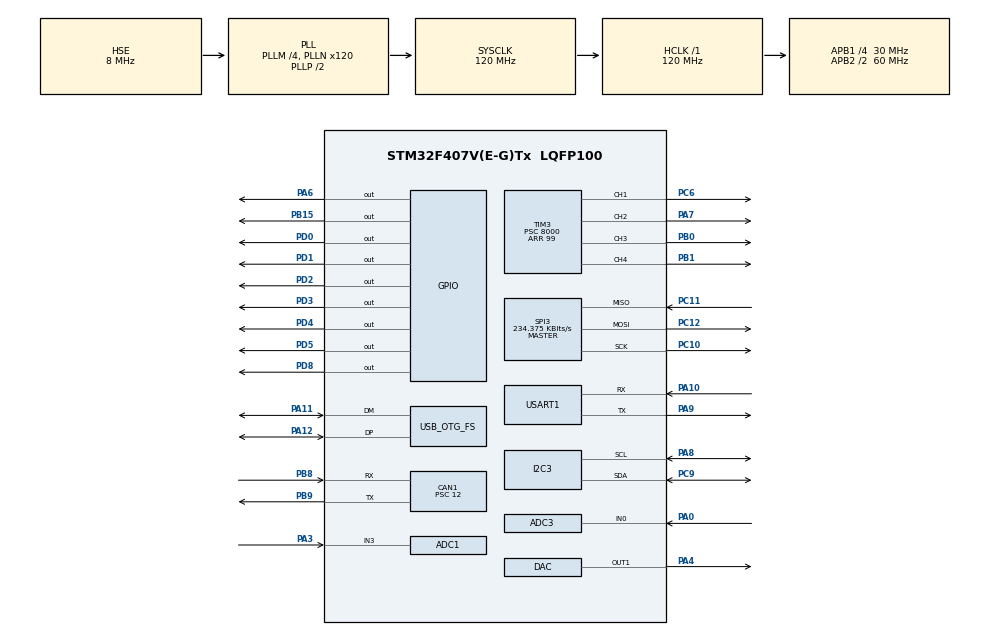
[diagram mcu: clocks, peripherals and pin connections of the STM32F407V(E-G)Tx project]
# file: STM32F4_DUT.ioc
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ADC1.Channel-2\#ChannelRegularConversion=ADC_CHANNEL_3
ADC1.NbrOfConversionFlag=1
ADC1.Rank-2\#ChannelRegularConversion=1
ADC1.SamplingTime-2\#ChannelRegularConversion=ADC_SAMPLETIME_480CYCLES
ADC1.master=1
ADC3.Channel-0\#ChannelRegularConversion=ADC_CHANNEL_0
ADC3.DMAContinuousRequests=ENABLE
ADC3.ExternalTrigConv=ADC_EXTERNALTRIGCONV_T8_TRGO
ADC3.NbrOfConversionFlag=1
ADC3.Rank-0\#ChannelRegularConversion=1
ADC3.SamplingTime-0\#ChannelRegularConversion=ADC_SAMPLETIME_480CYCLES
CAN1.BS1=CAN_BS1_2TQ
CAN1.BS2=CAN_BS2_2TQ
CAN1.CalculateBaudRate=500000
CAN1.CalculateTimeBit=2000
CAN1.CalculateTimeQuantum=400.0
CAN1.Prescaler=12
DAC.DAC_Trigger=DAC_TRIGGER_T2_TRGO
Dma.ADC3.1.Direction=DMA_PERIPH_TO_MEMORY
Dma.ADC3.1.FIFOMode=DMA_FIFOMODE_DISABLE
Dma.ADC3.1.Instance=DMA2_Stream0
Dma.ADC3.1.MemDataAlignment=DMA_MDATAALIGN_HALFWORD
Dma.ADC3.1.MemInc=DMA_MINC_ENABLE
Dma.ADC3.1.Mode=DMA_NORMAL
Dma.ADC3.1.PeriphDataAlignment=DMA_PDATAALIGN_HALFWORD
Dma.ADC3.1.PeriphInc=DMA_PINC_DISABLE
Dma.ADC3.1.Priority=DMA_PRIORITY_LOW
Dma.DAC1.0.Direction=DMA_MEMORY_TO_PERIPH
Dma.DAC1.0.FIFOMode=DMA_FIFOMODE_DISABLE
Dma.DAC1.0.Instance=DMA1_Stream5
Dma.DAC1.0.MemDataAlignment=DMA_MDATAALIGN_WORD
Dma.DAC1.0.MemInc=DMA_MINC_ENABLE
Dma.DAC1.0.Mode=DMA_CIRCULAR
Dma.DAC1.0.PeriphDataAlignment=DMA_PDATAALIGN_WORD
Dma.DAC1.0.PeriphInc=DMA_PINC_DISABLE
Dma.DAC1.0.Priority=DMA_PRIORITY_LOW
Dma.Request0=DAC1
Dma.Request1=ADC3
Mcu.Family=STM32F4
Mcu.Name=STM32F407V(E-G)Tx
Mcu.Package=LQFP100
NVIC.CAN1_RX0_IRQn=true\:6\:0\:true\:false\:true\:true\:true\:true
NVIC.DMA1_Stream5_IRQn=true\:0\:0\:false\:false\:true\:false\:true\:true
NVIC.DMA2_Stream0_IRQn=true\:6\:0\:true\:false\:true\:false\:true\:true
NVIC.OTG_FS_IRQn=true\:0\:0\:true\:false\:true\:false\:true\:true
NVIC.PriorityGroup=NVIC_PRIORITYGROUP_4
NVIC.TIM1_UP_TIM10_IRQn=true\:15\:0\:false\:false\:true\:false\:true\:true
NVIC.TimeBase=TIM1_UP_TIM10_IRQn
NVIC.TimeBaseIP=TIM1
NVIC.USART1_IRQn=true\:0\:0\:false\:false\:true\:true\:true\:true
PA0-WKUP.Signal=ADCx_IN0
PA10.Mode=Asynchronous
PA10.Signal=USART1_RX
PA11.Mode=Device_Only
PA11.Signal=USB_OTG_FS_DM
PA12.Mode=Device_Only
PA12.Signal=USB_OTG_FS_DP
PA13.Mode=Serial_Wire
PA13.Signal=SYS_JTMS-SWDIO
PA14.Mode=Serial_Wire
PA14.Signal=SYS_JTCK-SWCLK
PA3.Signal=ADCx_IN3
PA4.Signal=COMP_DAC1_group
PA6.Signal=GPIO_Output
PA7.Signal=S_TIM3_CH2
PA8.Mode=I2C
PA8.Signal=I2C3_SCL
PA9.Mode=Asynchronous
PA9.Signal=USART1_TX
PB0.Signal=S_TIM3_CH3
PB1.Signal=S_TIM3_CH4
PB15.Signal=GPIO_Output
PB8.Mode=CAN_Activate
PB8.Signal=CAN1_RX
PB9.Mode=CAN_Activate
PB9.Signal=CAN1_TX
PC10.Mode=Full_Duplex_Master
PC10.Signal=SPI3_SCK
PC11.Mode=Full_Duplex_Master
PC11.Signal=SPI3_MISO
PC12.Mode=Full_Duplex_Master
PC12.Signal=SPI3_MOSI
PC6.Signal=S_TIM3_CH1
PC9.Mode=I2C
PC9.Signal=I2C3_SDA
PD0.Signal=GPIO_Output
PD1.Signal=GPIO_Output
PD2.Signal=GPIO_Output
PD3.Signal=GPIO_Output
PD4.Signal=GPIO_Output
PD5.Signal=GPIO_Output
PD8.Signal=GPIO_Output
PH0-OSC_IN.Mode=HSE-External-Oscillator
PH0-OSC_IN.Signal=RCC_OSC_IN
PH1-OSC_OUT.Mode=HSE-External-Oscillator
PH1-OSC_OUT.Signal=RCC_OSC_OUT
ProjectManager.HeapSize=0x200
ProjectManager.StackSize=0x400
ProjectManager.TargetToolchain=STM32CubeIDE
RCC.48MHZClocksFreq_Value=48000000
RCC.AHBFreq_Value=120000000
RCC.APB1CLKDivider=RCC_HCLK_DIV4
RCC.APB1Freq_Value=30000000
RCC.APB1TimFreq_Value=60000000
RCC.APB2CLKDivider=RCC_HCLK_DIV2
RCC.APB2Freq_Value=60000000
RCC.APB2TimFreq_Value=120000000
RCC.CortexFreq_Value=120000000
RCC.HCLKFreq_Value=120000000
RCC.HSE_VALUE=8000000
RCC.HSI_VALUE=16000000
RCC.LSE_VALUE=32768
RCC.PLLM=4
RCC.PLLN=120
RCC.PLLQ=5
RCC.SYSCLKFreq_VALUE=120000000
RCC.SYSCLKSource=RCC_SYSCLKSOURCE_PLLCLK
RCC.VCOOutputFreq_Value=240000000
SH.ADCx_IN0.0=ADC3_IN0,IN0
SH.ADCx_IN3.0=ADC1_IN3,IN3
SH.COMP_DAC1_group.0=DAC_OUT1,DAC_OUT1
SH.S_TIM3_CH1.0=TIM3_CH1,PWM Generation1 CH1
SH.S_TIM3_CH2.0=TIM3_CH2,PWM Generation2 CH2
SH.S_TIM3_CH3.0=TIM3_CH3,PWM Generation3 CH3
SH.S_TIM3_CH4.0=TIM3_CH4,PWM Generation4 CH4
SPI3.BaudRatePrescaler=SPI_BAUDRATEPRESCALER_128
SPI3.CLKPhase=SPI_PHASE_2EDGE
SPI3.CalculateBaudRate=234.375 KBits/s
SPI3.Direction=SPI_DIRECTION_2LINES
SPI3.Mode=SPI_MODE_MASTER
SPI3.VirtualType=VM_MASTER
STMicroelectronics.X-CUBE-ALGOBUILD.1.4.0.LibraryCcDSPOoLibraryJjDSPOoLibrary=true
TIM2.Period=10-1
TIM2.Prescaler=6-1
TIM2.TIM_MasterOutputTrigger=TIM_TRGO_UPDATE
TIM3.AutoReloadPreload=TIM_AUTORELOAD_PRELOAD_ENABLE
TIM3.Channel-PWM\ Generation1\ CH1=TIM_CHANNEL_1
TIM3.Channel-PWM\ Generation2\ CH2=TIM_CHANNEL_2
TIM3.Channel-PWM\ Generation3\ CH3=TIM_CHANNEL_3
TIM3.Channel-PWM\ Generation4\ CH4=TIM_CHANNEL_4
TIM3.OCMode_PWM-PWM\ Generation3\ CH3=TIM_OCMODE_PWM1
TIM3.Period=99
TIM3.Prescaler=8000
TIM3.Pulse-PWM\ Generation1\ CH1=25
TIM3.Pulse-PWM\ Generation2\ CH2=50
TIM3.Pulse-PWM\ Generation3\ CH3=75
TIM8.Period=100-1
TIM8.Prescaler=40-1
TIM8.TIM_MasterOutputTrigger=TIM_TRGO_UPDATE
USART1.VirtualMode=VM_ASYNC
USB_DEVICE.CLASS_NAME_FS=CDC
USB_DEVICE.VirtualMode-CDC_FS=Cdc
USB_DEVICE.VirtualModeFS=Cdc_FS
USB_OTG_FS.VirtualMode=Device_Only
VP_STMicroelectronics.X-CUBE-ALGOBUILD_VS_DSPOoLibraryJjLibrary_1.4.0_1.4.0.Mode=DSPOoLibraryJjLibrary
VP_SYS_VS_tim1.Mode=TIM1
VP_TIM2_VS_ClockSourceINT.Mode=Internal
VP_TIM3_VS_ClockSourceINT.Mode=Internal
VP_TIM8_VS_ClockSourceINT.Mode=Internal
VP_USB_DEVICE_VS_USB_DEVICE_CDC_FS.Mode=CDC_FS
board=custom

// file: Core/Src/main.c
/* USER CODE BEGIN Header */
/**
  ******************************************************************************
  * @file           : main.c
  * @brief          : Main program body
  ******************************************************************************
  * @attention
  *
  * Copyright (c) 2026 STMicroelectronics.
  * All rights reserved.
  *
  * This software is licensed under terms that can be found in the LICENSE file
  * in the root directory of this software component.
  * If no LICENSE file comes with this software, it is provided AS-IS.
  *
  ******************************************************************************
  */
/* USER CODE END Header */
#include "main.h"
#include "usb_device.h"

/* USER CODE BEGIN Includes */
#include "FreeRTOS.h"
#include "task.h"
#include "command.h"
#include "w25q_driver.h"
#include "sine_wave.h"
#include "can_driver.h"
#include "adc_fft.h"
/* USER CODE END Includes */

ADC_HandleTypeDef hadc1;
ADC_HandleTypeDef hadc3;
DMA_HandleTypeDef hdma_adc3;

CAN_HandleTypeDef hcan1;

DAC_HandleTypeDef hdac;
DMA_HandleTypeDef hdma_dac1;

I2C_HandleTypeDef hi2c3;

TIM_HandleTypeDef htim2;
TIM_HandleTypeDef htim3;
TIM_HandleTypeDef htim8;

UART_HandleTypeDef huart1;

void SystemClock_Config(void);
static void MX_GPIO_Init(void);
static void MX_DMA_Init(void);
static void MX_SPI3_Init(void);
static void MX_DAC_Init(void);
static void MX_TIM2_Init(void);
static void MX_CAN1_Init(void);
static void MX_USART1_UART_Init(void);
static void MX_ADC1_Init(void);
static void MX_TIM3_Init(void);
static void MX_I2C3_Init(void);
static void MX_ADC3_Init(void);
static void MX_TIM8_Init(void);
/* USER CODE BEGIN PFP */
static void toggle_led(void *pvParameters);
/* USER CODE END PFP */

int main(void)
{

  /* MCU Configuration--------------------------------------------------------*/

  /* Reset of all peripherals, Initializes the Flash interface and the Systick. */
  HAL_Init();

  /* Configure the system clock */
  SystemClock_Config();

  /* Initialize all configured peripherals */
  MX_GPIO_Init();
  MX_DMA_Init();
  MX_USB_DEVICE_Init();
  MX_SPI3_Init();
  MX_DAC_Init();
  MX_TIM2_Init();
  MX_CAN1_Init();
  MX_USART1_UART_Init();
  MX_ADC1_Init();
  MX_TIM3_Init();
  MX_I2C3_Init();
  MX_ADC3_Init();
  MX_TIM8_Init();
  /* USER CODE BEGIN 2 */
  LL_GPIO_SetOutputPin(GPIOB, LL_GPIO_PIN_15); // Set POWER STATUS PIN
  LL_GPIO_SetOutputPin(GPIOD, LL_GPIO_PIN_8);

  calcsin();
  calc_triangle();

  CAN_Init();
	W25Q_Init(&W25Q);
  xTaskCreate(toggle_led, "toggle_led", configMINIMAL_STACK_SIZE, NULL, 1, NULL);

	CommandLine_Init();
	xTaskCreate(CommandLine_Task, "DUT Console", configMINIMAL_STACK_SIZE * 8, NULL, 2, NULL);
  ADC_FFT_Init();
	vTaskStartScheduler();
  /* USER CODE END 2 */

  /* Infinite loop */
  while (1)
  {

  }
}

void SystemClock_Config(void)
{
  RCC_OscInitTypeDef RCC_OscInitStruct = {0};
  RCC_ClkInitTypeDef RCC_ClkInitStruct = {0};

  /** Configure the main internal regulator output voltage
  */
  __HAL_RCC_PWR_CLK_ENABLE();
  __HAL_PWR_VOLTAGESCALING_CONFIG(PWR_REGULATOR_VOLTAGE_SCALE1);

  /** Initializes the RCC Oscillators according to the specified parameters
  * in the RCC_OscInitTypeDef structure.
  */
  RCC_OscInitStruct.OscillatorType = RCC_OSCILLATORTYPE_HSE;
  RCC_OscInitStruct.HSEState = RCC_HSE_ON;
  RCC_OscInitStruct.PLL.PLLState = RCC_PLL_ON;
  RCC_OscInitStruct.PLL.PLLSource = RCC_PLLSOURCE_HSE;
  RCC_OscInitStruct.PLL.PLLM = 4;
  RCC_OscInitStruct.PLL.PLLN = 120;
  RCC_OscInitStruct.PLL.PLLP = RCC_PLLP_DIV2;
  RCC_OscInitStruct.PLL.PLLQ = 5;
  if (HAL_RCC_OscConfig(&RCC_OscInitStruct) != HAL_OK)
  {
    Error_Handler();
  }

  /** Initializes the CPU, AHB and APB buses clocks
  */
  RCC_ClkInitStruct.ClockType = RCC_CLOCKTYPE_HCLK|RCC_CLOCKTYPE_SYSCLK
                              |RCC_CLOCKTYPE_PCLK1|RCC_CLOCKTYPE_PCLK2;
  RCC_ClkInitStruct.SYSCLKSource = RCC_SYSCLKSOURCE_PLLCLK;
  RCC_ClkInitStruct.AHBCLKDivider = RCC_SYSCLK_DIV1;
  RCC_ClkInitStruct.APB1CLKDivider = RCC_HCLK_DIV4;
  RCC_ClkInitStruct.APB2CLKDivider = RCC_HCLK_DIV2;

  if (HAL_RCC_ClockConfig(&RCC_ClkInitStruct, FLASH_LATENCY_3) != HAL_OK)
  {
    Error_Handler();
  }
}

static void MX_ADC1_Init(void)
{

  ADC_ChannelConfTypeDef sConfig = {0};

  /** Configure the global features of the ADC (Clock, Resolution, Data Alignment and number of conversion)
  */
  hadc1.Instance = ADC1;
  hadc1.Init.ClockPrescaler = ADC_CLOCK_SYNC_PCLK_DIV2;
  hadc1.Init.Resolution = ADC_RESOLUTION_12B;
  hadc1.Init.ScanConvMode = DISABLE;
  hadc1.Init.ContinuousConvMode = DISABLE;
  hadc1.Init.DiscontinuousConvMode = DISABLE;
  hadc1.Init.ExternalTrigConvEdge = ADC_EXTERNALTRIGCONVEDGE_NONE;
  hadc1.Init.ExternalTrigConv = ADC_SOFTWARE_START;
  hadc1.Init.DataAlign = ADC_DATAALIGN_RIGHT;
  hadc1.Init.NbrOfConversion = 1;
  hadc1.Init.DMAContinuousRequests = DISABLE;
  hadc1.Init.EOCSelection = ADC_EOC_SINGLE_CONV;
  if (HAL_ADC_Init(&hadc1) != HAL_OK)
  {
    Error_Handler();
  }

  /** Configure for the selected ADC regular channel its corresponding rank in the sequencer and its sample time.
  */
  sConfig.Channel = ADC_CHANNEL_3;
  sConfig.Rank = 1;
  sConfig.SamplingTime = ADC_SAMPLETIME_480CYCLES;
  if (HAL_ADC_ConfigChannel(&hadc1, &sConfig) != HAL_OK)
  {
    Error_Handler();
  }

}

static void MX_ADC3_Init(void)
{

  ADC_ChannelConfTypeDef sConfig = {0};

  /** Configure the global features of the ADC (Clock, Resolution, Data Alignment and number of conversion)
  */
  hadc3.Instance = ADC3;
  hadc3.Init.ClockPrescaler = ADC_CLOCK_SYNC_PCLK_DIV2;
  hadc3.Init.Resolution = ADC_RESOLUTION_12B;
  hadc3.Init.ScanConvMode = DISABLE;
  hadc3.Init.ContinuousConvMode = DISABLE;
  hadc3.Init.DiscontinuousConvMode = DISABLE;
  hadc3.Init.ExternalTrigConvEdge = ADC_EXTERNALTRIGCONVEDGE_RISING;
  hadc3.Init.ExternalTrigConv = ADC_EXTERNALTRIGCONV_T8_TRGO;
  hadc3.Init.DataAlign = ADC_DATAALIGN_RIGHT;
  hadc3.Init.NbrOfConversion = 1;
  hadc3.Init.DMAContinuousRequests = ENABLE;
  hadc3.Init.EOCSelection = ADC_EOC_SINGLE_CONV;
  if (HAL_ADC_Init(&hadc3) != HAL_OK)
  {
    Error_Handler();
  }

  /** Configure for the selected ADC regular channel its corresponding rank in the sequencer and its sample time.
  */
  sConfig.Channel = ADC_CHANNEL_0;
  sConfig.Rank = 1;
  sConfig.SamplingTime = ADC_SAMPLETIME_480CYCLES;
  if (HAL_ADC_ConfigChannel(&hadc3, &sConfig) != HAL_OK)
  {
    Error_Handler();
  }

}

static void MX_CAN1_Init(void)
{

  hcan1.Instance = CAN1;
  hcan1.Init.Prescaler = 12;
  hcan1.Init.Mode = CAN_MODE_NORMAL;
  hcan1.Init.SyncJumpWidth = CAN_SJW_1TQ;
  hcan1.Init.TimeSeg1 = CAN_BS1_2TQ;
  hcan1.Init.TimeSeg2 = CAN_BS2_2TQ;
  hcan1.Init.TimeTriggeredMode = DISABLE;
  hcan1.Init.AutoBusOff = DISABLE;
  hcan1.Init.AutoWakeUp = DISABLE;
  hcan1.Init.AutoRetransmission = DISABLE;
  hcan1.Init.ReceiveFifoLocked = DISABLE;
  hcan1.Init.TransmitFifoPriority = DISABLE;
  if (HAL_CAN_Init(&hcan1) != HAL_OK)
  {
    Error_Handler();
  }

}

static void MX_DAC_Init(void)
{

  DAC_ChannelConfTypeDef sConfig = {0};

  /** DAC Initialization
  */
  hdac.Instance = DAC;
  if (HAL_DAC_Init(&hdac) != HAL_OK)
  {
    Error_Handler();
  }

  /** DAC channel OUT1 config
  */
  sConfig.DAC_Trigger = DAC_TRIGGER_T2_TRGO;
  sConfig.DAC_OutputBuffer = DAC_OUTPUTBUFFER_ENABLE;
  if (HAL_DAC_ConfigChannel(&hdac, &sConfig, DAC_CHANNEL_1) != HAL_OK)
  {
    Error_Handler();
  }

}

static void MX_I2C3_Init(void)
{

  hi2c3.Instance = I2C3;
  hi2c3.Init.ClockSpeed = 100000;
  hi2c3.Init.DutyCycle = I2C_DUTYCYCLE_2;
  hi2c3.Init.OwnAddress1 = 0;
  hi2c3.Init.AddressingMode = I2C_ADDRESSINGMODE_7BIT;
  hi2c3.Init.DualAddressMode = I2C_DUALADDRESS_DISABLE;
  hi2c3.Init.OwnAddress2 = 0;
  hi2c3.Init.GeneralCallMode = I2C_GENERALCALL_DISABLE;
  hi2c3.Init.NoStretchMode = I2C_NOSTRETCH_DISABLE;
  if (HAL_I2C_Init(&hi2c3) != HAL_OK)
  {
    Error_Handler();
  }

}

static void MX_SPI3_Init(void)
{

  LL_SPI_InitTypeDef SPI_InitStruct = {0};

  LL_GPIO_InitTypeDef GPIO_InitStruct = {0};

  /* Peripheral clock enable */
  LL_APB1_GRP1_EnableClock(LL_APB1_GRP1_PERIPH_SPI3);

  LL_AHB1_GRP1_EnableClock(LL_AHB1_GRP1_PERIPH_GPIOC);
  /**SPI3 GPIO Configuration
  PC10   ------> SPI3_SCK
  PC11   ------> SPI3_MISO
  PC12   ------> SPI3_MOSI
  */
  GPIO_InitStruct.Pin = LL_GPIO_PIN_10|LL_GPIO_PIN_11|LL_GPIO_PIN_12;
  GPIO_InitStruct.Mode = LL_GPIO_MODE_ALTERNATE;
  GPIO_InitStruct.Speed = LL_GPIO_SPEED_FREQ_VERY_HIGH;
  GPIO_InitStruct.OutputType = LL_GPIO_OUTPUT_PUSHPULL;
  GPIO_InitStruct.Pull = LL_GPIO_PULL_NO;
  GPIO_InitStruct.Alternate = LL_GPIO_AF_6;
  LL_GPIO_Init(GPIOC, &GPIO_InitStruct);

  /* SPI3 parameter configuration*/
  SPI_InitStruct.TransferDirection = LL_SPI_FULL_DUPLEX;
  SPI_InitStruct.Mode = LL_SPI_MODE_MASTER;
  SPI_InitStruct.DataWidth = LL_SPI_DATAWIDTH_8BIT;
  SPI_InitStruct.ClockPolarity = LL_SPI_POLARITY_LOW;
  SPI_InitStruct.ClockPhase = LL_SPI_PHASE_2EDGE;
  SPI_InitStruct.NSS = LL_SPI_NSS_SOFT;
  SPI_InitStruct.BaudRate = LL_SPI_BAUDRATEPRESCALER_DIV128;
  SPI_InitStruct.BitOrder = LL_SPI_MSB_FIRST;
  SPI_InitStruct.CRCCalculation = LL_SPI_CRCCALCULATION_DISABLE;
  SPI_InitStruct.CRCPoly = 10;
  LL_SPI_Init(SPI3, &SPI_InitStruct);
  LL_SPI_SetStandard(SPI3, LL_SPI_PROTOCOL_MOTOROLA);
  /* USER CODE BEGIN SPI3_Init 2 */
  LL_SPI_Enable(SPI3);
  /* USER CODE END SPI3_Init 2 */

}

static void MX_TIM2_Init(void)
{

  TIM_ClockConfigTypeDef sClockSourceConfig = {0};
  TIM_MasterConfigTypeDef sMasterConfig = {0};

  htim2.Instance = TIM2;
  htim2.Init.Prescaler = 6-1;
  htim2.Init.CounterMode = TIM_COUNTERMODE_UP;
  htim2.Init.Period = 10-1;
  htim2.Init.ClockDivision = TIM_CLOCKDIVISION_DIV1;
  htim2.Init.AutoReloadPreload = TIM_AUTORELOAD_PRELOAD_DISABLE;
  if (HAL_TIM_Base_Init(&htim2) != HAL_OK)
  {
    Error_Handler();
  }
  sClockSourceConfig.ClockSource = TIM_CLOCKSOURCE_INTERNAL;
  if (HAL_TIM_ConfigClockSource(&htim2, &sClockSourceConfig) != HAL_OK)
  {
    Error_Handler();
  }
  sMasterConfig.MasterOutputTrigger = TIM_TRGO_UPDATE;
  sMasterConfig.MasterSlaveMode = TIM_MASTERSLAVEMODE_DISABLE;
  if (HAL_TIMEx_MasterConfigSynchronization(&htim2, &sMasterConfig) != HAL_OK)
  {
    Error_Handler();
  }

}

static void MX_TIM3_Init(void)
{

  TIM_ClockConfigTypeDef sClockSourceConfig = {0};
  TIM_MasterConfigTypeDef sMasterConfig = {0};
  TIM_OC_InitTypeDef sConfigOC = {0};

  htim3.Instance = TIM3;
  htim3.Init.Prescaler = 8000;
  htim3.Init.CounterMode = TIM_COUNTERMODE_UP;
  htim3.Init.Period = 99;
  htim3.Init.ClockDivision = TIM_CLOCKDIVISION_DIV1;
  htim3.Init.AutoReloadPreload = TIM_AUTORELOAD_PRELOAD_ENABLE;
  if (HAL_TIM_Base_Init(&htim3) != HAL_OK)
  {
    Error_Handler();
  }
  sClockSourceConfig.ClockSource = TIM_CLOCKSOURCE_INTERNAL;
  if (HAL_TIM_ConfigClockSource(&htim3, &sClockSourceConfig) != HAL_OK)
  {
    Error_Handler();
  }
  if (HAL_TIM_PWM_Init(&htim3) != HAL_OK)
  {
    Error_Handler();
  }
  sMasterConfig.MasterOutputTrigger = TIM_TRGO_RESET;
  sMasterConfig.MasterSlaveMode = TIM_MASTERSLAVEMODE_DISABLE;
  if (HAL_TIMEx_MasterConfigSynchronization(&htim3, &sMasterConfig) != HAL_OK)
  {
    Error_Handler();
  }
  sConfigOC.OCMode = TIM_OCMODE_PWM1;
  sConfigOC.Pulse = 25;
  sConfigOC.OCPolarity = TIM_OCPOLARITY_HIGH;
  sConfigOC.OCFastMode = TIM_OCFAST_DISABLE;
  if (HAL_TIM_PWM_ConfigChannel(&htim3, &sConfigOC, TIM_CHANNEL_1) != HAL_OK)
  {
    Error_Handler();
  }
  sConfigOC.Pulse = 50;
  if (HAL_TIM_PWM_ConfigChannel(&htim3, &sConfigOC, TIM_CHANNEL_2) != HAL_OK)
  {
    Error_Handler();
  }
  sConfigOC.Pulse = 75;
  if (HAL_TIM_PWM_ConfigChannel(&htim3, &sConfigOC, TIM_CHANNEL_3) != HAL_OK)
  {
    Error_Handler();
  }
  sConfigOC.Pulse = 0;
  if (HAL_TIM_PWM_ConfigChannel(&htim3, &sConfigOC, TIM_CHANNEL_4) != HAL_OK)
  {
    Error_Handler();
  }
  HAL_TIM_MspPostInit(&htim3);

}

static void MX_TIM8_Init(void)
{

  TIM_ClockConfigTypeDef sClockSourceConfig = {0};
  TIM_MasterConfigTypeDef sMasterConfig = {0};

  htim8.Instance = TIM8;
  htim8.Init.Prescaler = 40-1;
  htim8.Init.CounterMode = TIM_COUNTERMODE_UP;
  htim8.Init.Period = 100-1;
  htim8.Init.ClockDivision = TIM_CLOCKDIVISION_DIV1;
  htim8.Init.RepetitionCounter = 0;
  htim8.Init.AutoReloadPreload = TIM_AUTORELOAD_PRELOAD_DISABLE;
  if (HAL_TIM_Base_Init(&htim8) != HAL_OK)
  {
    Error_Handler();
  }
  sClockSourceConfig.ClockSource = TIM_CLOCKSOURCE_INTERNAL;
  if (HAL_TIM_ConfigClockSource(&htim8, &sClockSourceConfig) != HAL_OK)
  {
    Error_Handler();
  }
  sMasterConfig.MasterOutputTrigger = TIM_TRGO_UPDATE;
  sMasterConfig.MasterSlaveMode = TIM_MASTERSLAVEMODE_DISABLE;
  if (HAL_TIMEx_MasterConfigSynchronization(&htim8, &sMasterConfig) != HAL_OK)
  {
    Error_Handler();
  }

}

static void MX_USART1_UART_Init(void)
{

  huart1.Instance = USART1;
  huart1.Init.BaudRate = 115200;
  huart1.Init.WordLength = UART_WORDLENGTH_8B;
  huart1.Init.StopBits = UART_STOPBITS_1;
  huart1.Init.Parity = UART_PARITY_NONE;
  huart1.Init.Mode = UART_MODE_TX_RX;
  huart1.Init.HwFlowCtl = UART_HWCONTROL_NONE;
  huart1.Init.OverSampling = UART_OVERSAMPLING_16;
  if (HAL_UART_Init(&huart1) != HAL_OK)
  {
    Error_Handler();
  }

}

static void MX_DMA_Init(void)
{

  /* DMA controller clock enable */
  __HAL_RCC_DMA1_CLK_ENABLE();
  __HAL_RCC_DMA2_CLK_ENABLE();

  /* DMA interrupt init */
  /* DMA1_Stream5_IRQn interrupt configuration */
  HAL_NVIC_SetPriority(DMA1_Stream5_IRQn, 0, 0);
  HAL_NVIC_EnableIRQ(DMA1_Stream5_IRQn);
  /* DMA2_Stream0_IRQn interrupt configuration */
  HAL_NVIC_SetPriority(DMA2_Stream0_IRQn, 6, 0);
  HAL_NVIC_EnableIRQ(DMA2_Stream0_IRQn);

}

static void MX_GPIO_Init(void)
{
  LL_GPIO_InitTypeDef GPIO_InitStruct = {0};

  /* GPIO Ports Clock Enable */
  LL_AHB1_GRP1_EnableClock(LL_AHB1_GRP1_PERIPH_GPIOH);
  LL_AHB1_GRP1_EnableClock(LL_AHB1_GRP1_PERIPH_GPIOA);
  LL_AHB1_GRP1_EnableClock(LL_AHB1_GRP1_PERIPH_GPIOB);
  LL_AHB1_GRP1_EnableClock(LL_AHB1_GRP1_PERIPH_GPIOD);
  LL_AHB1_GRP1_EnableClock(LL_AHB1_GRP1_PERIPH_GPIOC);

  /**/
  LL_GPIO_ResetOutputPin(GPIOA, LL_GPIO_PIN_6);

  /**/
  LL_GPIO_ResetOutputPin(GPIOB, LL_GPIO_PIN_15);

  /**/
  LL_GPIO_ResetOutputPin(GPIOD, LL_GPIO_PIN_8|LL_GPIO_PIN_0|LL_GPIO_PIN_1|LL_GPIO_PIN_2
                          |LL_GPIO_PIN_3|LL_GPIO_PIN_4|LL_GPIO_PIN_5);

  /**/
  GPIO_InitStruct.Pin = LL_GPIO_PIN_6;
  GPIO_InitStruct.Mode = LL_GPIO_MODE_OUTPUT;
  GPIO_InitStruct.Speed = LL_GPIO_SPEED_FREQ_LOW;
  GPIO_InitStruct.OutputType = LL_GPIO_OUTPUT_PUSHPULL;
  GPIO_InitStruct.Pull = LL_GPIO_PULL_NO;
  LL_GPIO_Init(GPIOA, &GPIO_InitStruct);

  /**/
  GPIO_InitStruct.Pin = LL_GPIO_PIN_15;
  GPIO_InitStruct.Mode = LL_GPIO_MODE_OUTPUT;
  GPIO_InitStruct.Speed = LL_GPIO_SPEED_FREQ_LOW;
  GPIO_InitStruct.OutputType = LL_GPIO_OUTPUT_PUSHPULL;
  GPIO_InitStruct.Pull = LL_GPIO_PULL_NO;
  LL_GPIO_Init(GPIOB, &GPIO_InitStruct);

  /**/
  GPIO_InitStruct.Pin = LL_GPIO_PIN_8|LL_GPIO_PIN_0|LL_GPIO_PIN_1|LL_GPIO_PIN_2
                          |LL_GPIO_PIN_3|LL_GPIO_PIN_4|LL_GPIO_PIN_5;
  GPIO_InitStruct.Mode = LL_GPIO_MODE_OUTPUT;
  GPIO_InitStruct.Speed = LL_GPIO_SPEED_FREQ_LOW;
  GPIO_InitStruct.OutputType = LL_GPIO_OUTPUT_PUSHPULL;
  GPIO_InitStruct.Pull = LL_GPIO_PULL_NO;
  LL_GPIO_Init(GPIOD, &GPIO_InitStruct);

}

/* USER CODE BEGIN 4 */
static void toggle_led(void *pvParameters)
{
	while (1) {
		LL_GPIO_TogglePin(GPIOA, LL_GPIO_PIN_6);
		LL_GPIO_TogglePin(GPIOD, LL_GPIO_PIN_8);
		vTaskDelay(pdMS_TO_TICKS(500));
	}
}
/* USER CODE END 4 */

void HAL_TIM_PeriodElapsedCallback(TIM_HandleTypeDef *htim)
{
  if (htim->Instance == TIM1) {
    HAL_IncTick();
  }
}

void Error_Handler(void)
{
  __disable_irq();
  while (1)
  {
  }
}
